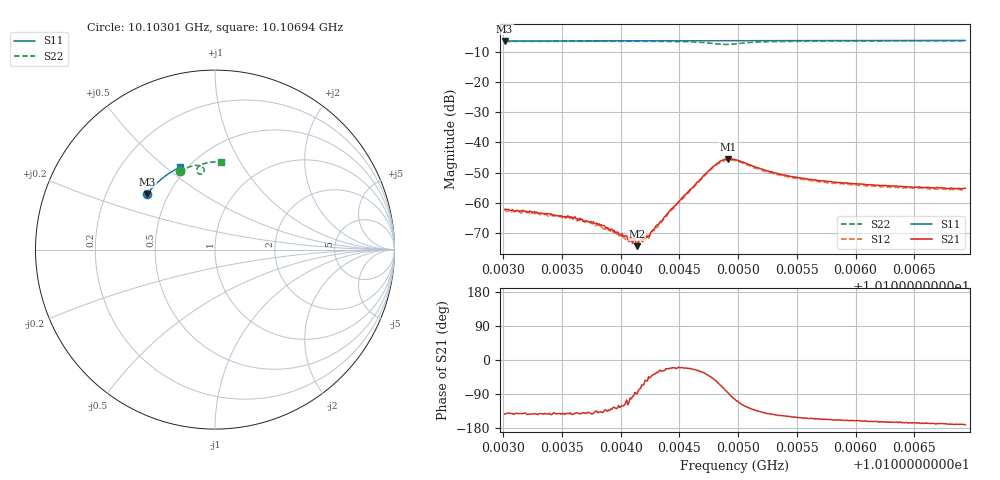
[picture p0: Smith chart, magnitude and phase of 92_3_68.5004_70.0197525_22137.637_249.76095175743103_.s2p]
#  HZ  S  RI  R  50.00
! Rohde & Schwarz Vector Network Analyzer
! Rohde-Schwarz,ZNB20-2Port,1311601062101988,3.16
! Created: UTC 3/20/2024, 4:52:42 PM
! freq[Hz]  re:S11  im:S11  re:S21  im:S21  re:S12  im:S12  re:S22  im:S22
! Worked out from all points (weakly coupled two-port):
!   401 points, 10.10301 GHz to 10.10694 GHz, reference 50 ohm
!   highest |S21| = -45.46 dB at 10.10491 GHz (marker M1); lowest = -74.5 dB at 10.10414 GHz (marker M2)
!   lowest |S11| = -6.2 dB at 10.10301 GHz (marker M3), VSWR 2.91, Z = 19.1 + j15.6 ohm
!   |S11| at or under -10 dB: nowhere
!   |S22| runs from -7.4 to -6.2 dB; largest |S21 - S12| = 0.00054
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1.0103009e10  -0.3774 0.3101  -0.000611 -0.000466  -0.000541 -0.000494  -0.1974 0.4383
1.010354e10  -0.3571 0.3354  -0.000448 -0.000353  -0.000431 -0.000387  -0.1647 0.4531
1.0103608e10  -0.3544 0.3384  -0.000453 -0.000366  -0.000346 -0.000368  -0.1603 0.4548
1.0103667e10  -0.3521 0.3412  -0.000409 -0.00034  -0.000363 -0.000342  -0.1565 0.4562
1.0103844e10  -0.3449 0.3491  -0.000311 -0.000272  -0.000254 -0.000276  -0.1444 0.4603
1.0104031e10  -0.337 0.3573  -0.000133 -0.000241  -8.87e-05 -0.000236  -0.1312 0.4642
1.010408e10  -0.3349 0.3596  -4.54e-05 -0.000253  -5.24e-05 -0.000224  -0.1276 0.4652
1.0104099e10  -0.3342 0.3604  -2.34e-05 -0.000209  -1.1e-05 -0.000223  -0.1261 0.4656
1.0104119e10  -0.3332 0.3613  1.91e-05 -0.00025  -6.66e-06 -0.000202  -0.1246 0.466
1.0104139e10  -0.3324 0.362  4.55e-07 -0.000188  7.22e-05 -0.000209  -0.1231 0.4664
1.0104168e10  -0.3312 0.3634  5.94e-05 -0.000231  8.78e-05 -0.000182  -0.1208 0.4668
1.0104227e10  -0.3286 0.3658  0.000152 -0.00022  0.000196 -0.000205  -0.116 0.4678
1.0104325e10  -0.3244 0.37  0.00039 -0.000211  0.000393 -0.000205  -0.1077 0.4688
1.0104394e10  -0.3213 0.3729  0.000593 -0.000253  0.000572 -0.000178  -0.1013 0.4693
1.0104767e10  -0.3042 0.3879  0.0026 -0.00258  0.0027 -0.00225  -0.0605 0.4444
1.0104845e10  -0.3007 0.3908  0.00199 -0.00441  0.00228 -0.00404  -0.066 0.4262
1.0104914e10  -0.2976 0.3934  0.00029 -0.00533  0.000734 -0.00508  -0.0834 0.4202
1.0104973e10  -0.2949 0.3955  -0.00128 -0.00505  -0.000794 -0.00493  -0.0965 0.4275
1.0105307e10  -0.2791 0.4083  -0.00254 -0.00184  -0.00227 -0.00195  -0.0829 0.4699
1.0105631e10  -0.2632 0.4197  -0.00218 -0.00105  -0.00197 -0.00113  -0.0565 0.4806
1.0106289e10  -0.2294 0.4408  -0.00181 -0.0005  -0.00171 -0.000649  -0.00964 0.488
1.0106937e10  -0.1945 0.4589  -0.00171 -0.000262  -0.00158 -0.00044  0.0336 0.4891
